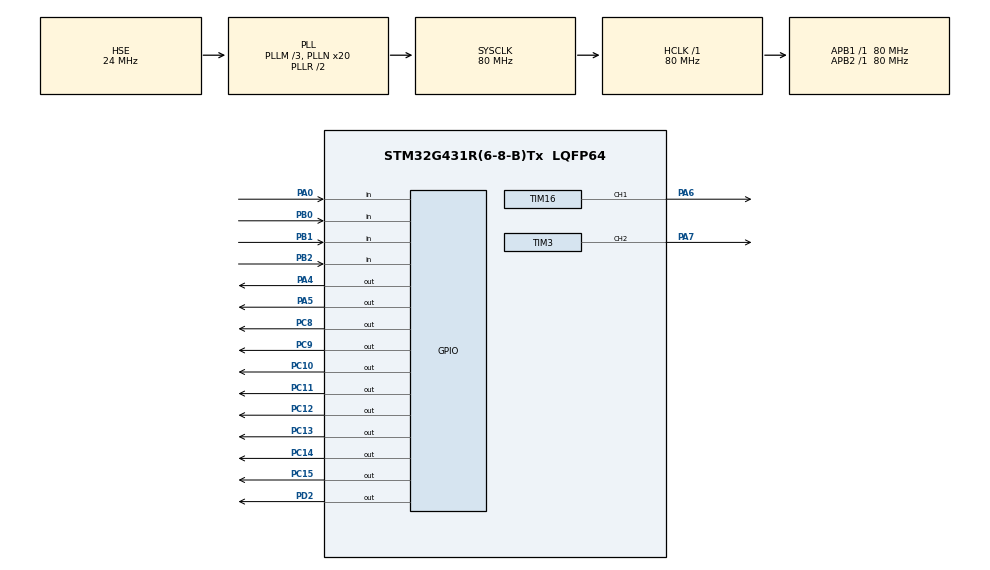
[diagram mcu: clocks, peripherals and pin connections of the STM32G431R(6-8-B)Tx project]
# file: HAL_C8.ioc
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Mcu.Family=STM32G4
Mcu.Name=STM32G431R(6-8-B)Tx
Mcu.Package=LQFP64
NVIC.PriorityGroup=NVIC_PRIORITYGROUP_4
NVIC.TIM6_DAC_IRQn=true\:0\:0\:false\:false\:true\:true\:true
PA0.Signal=GPIO_Input
PA4.Signal=GPIO_Output
PA5.Signal=GPIO_Output
PA6.Signal=S_TIM16_CH1
PA7.Signal=S_TIM3_CH2
PB0.Signal=GPIO_Input
PB1.Signal=GPIO_Input
PB2.Signal=GPIO_Input
PC10.PinState=GPIO_PIN_SET
PC10.Signal=GPIO_Output
PC11.PinState=GPIO_PIN_SET
PC11.Signal=GPIO_Output
PC12.PinState=GPIO_PIN_SET
PC12.Signal=GPIO_Output
PC13.PinState=GPIO_PIN_SET
PC13.Signal=GPIO_Output
PC14-OSC32_IN.PinState=GPIO_PIN_SET
PC14-OSC32_IN.Signal=GPIO_Output
PC15-OSC32_OUT.PinState=GPIO_PIN_SET
PC15-OSC32_OUT.Signal=GPIO_Output
PC8.PinState=GPIO_PIN_SET
PC8.Signal=GPIO_Output
PC9.PinState=GPIO_PIN_SET
PC9.Signal=GPIO_Output
PD2.PinState=GPIO_PIN_RESET
PD2.Signal=GPIO_Output
PF0-OSC_IN.Mode=HSE-External-Oscillator
PF0-OSC_IN.Signal=RCC_OSC_IN
PF1-OSC_OUT.Mode=HSE-External-Oscillator
PF1-OSC_OUT.Signal=RCC_OSC_OUT
ProjectManager.HeapSize=0x200
ProjectManager.StackSize=0x400
ProjectManager.TargetToolchain=MDK-ARM V5.27
RCC.ADC12Freq_Value=80000000
RCC.AHBFreq_Value=80000000
RCC.APB1Freq_Value=80000000
RCC.APB1TimFreq_Value=80000000
RCC.APB2Freq_Value=80000000
RCC.APB2TimFreq_Value=80000000
RCC.CortexFreq_Value=80000000
RCC.EXTERNAL_CLOCK_VALUE=12288000
RCC.HCLKFreq_Value=80000000
RCC.HSE_VALUE=24000000
RCC.HSI48_VALUE=48000000
RCC.HSI_VALUE=16000000
RCC.LSE_VALUE=32768
RCC.PLLM=RCC_PLLM_DIV3
RCC.PLLN=20
RCC.PLLSourceVirtual=RCC_PLLSOURCE_HSE
RCC.SYSCLKFreq_VALUE=80000000
RCC.SYSCLKSource=RCC_SYSCLKSOURCE_PLLCLK
RCC.USBFreq_Value=80000000
RCC.VCOOutputFreq_Value=160000000
RTC.Hours=23
RTC.Minutes=59
RTC.Seconds=30
RTC.Year=22
SH.S_TIM16_CH1.0=TIM16_CH1,Output Compare1 CH1
SH.S_TIM3_CH2.0=TIM3_CH2,Output Compare2 CH2
TIM16.AutoReloadPreload=TIM_AUTORELOAD_PRELOAD_ENABLE
TIM16.Channel=TIM_CHANNEL_1
TIM16.PeriodNoDither=999
TIM16.Prescaler=39
TIM16.PulseNoDither_1=500
TIM3.AutoReloadPreload=TIM_AUTORELOAD_PRELOAD_ENABLE
TIM3.Channel-Output\ Compare2\ CH2=TIM_CHANNEL_2
TIM3.PeriodNoDither=999
TIM3.Prescaler=79
TIM3.PulseNoDither_2=500
TIM6.AutoReloadPreload=TIM_AUTORELOAD_PRELOAD_ENABLE
TIM6.PeriodNoDither=999
TIM6.Prescaler=79
VP_RTC_VS_RTC_Activate.Mode=RTC_Enabled
VP_RTC_VS_RTC_Calendar.Mode=RTC_Calendar
VP_SYS_VS_DBSignals.Mode=DisableDeadBatterySignals
VP_TIM16_VS_ClockSourceINT.Mode=Enable_Timer
VP_TIM3_VS_ClockSourceINT.Mode=Internal
VP_TIM6_VS_ClockSourceINT.Mode=Enable_Timer
board=custom

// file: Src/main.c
/* USER CODE BEGIN Header */
/**
  ******************************************************************************
  * @file           : main.c
  * @brief          : Main program body
  ******************************************************************************
  * @attention
  *
  * <h2><center>&copy; Copyright (c) 2024 STMicroelectronics.
  * All rights reserved.</center></h2>
  *
  * This software component is licensed by ST under BSD 3-Clause license,
  * the "License"; You may not use this file except in compliance with the
  * License. You may obtain a copy of the License at:
  *                        opensource.org/licenses/BSD-3-Clause
  *
  ******************************************************************************
  */
/* USER CODE END Header */

#include "main.h"
#include "rtc.h"
#include "tim.h"
#include "gpio.h"

/* USER CODE BEGIN Includes */
#include "lcd_hal.h"
#include <stdio.h>
#include <string.h>
#include "LED.h"
/* USER CODE END Includes */

/* USER CODE BEGIN PTD */
typedef enum
{
	Key_Check,
	Key_Press,
	Key_Release,
	Key_Over
}Key_State;
typedef enum
{
	DU_NotClear,
	close,
	open
}State_f;
typedef enum
{
	up,
	down,
}DownAndUp;
/* USER CODE END PTD */

/* USER CODE BEGIN PD */
#define B1 HAL_GPIO_ReadPin(GPIOB, GPIO_PIN_0)
#define B2 HAL_GPIO_ReadPin(GPIOB, GPIO_PIN_1)
#define B3 HAL_GPIO_ReadPin(GPIOB, GPIO_PIN_2)
#define B4 HAL_GPIO_ReadPin(GPIOA, GPIO_PIN_0)

#define Press   GPIO_PIN_RESET
#define Release GPIO_PIN_SET

#define UP_PA4    HAL_GPIO_WritePin(GPIOA, GPIO_PIN_4, GPIO_PIN_SET)
#define DOWN_PA4  HAL_GPIO_WritePin(GPIOA, GPIO_PIN_4, GPIO_PIN_RESET)
#define OPEN_PA5  HAL_GPIO_WritePin(GPIOA, GPIO_PIN_5, GPIO_PIN_SET)
#define CLOSE_PA5 HAL_GPIO_WritePin(GPIOA, GPIO_PIN_5, GPIO_PIN_RESET)
#define UP_PWM    __HAL_TIM_SET_COMPARE(&htim3, TIM_CHANNEL_2, 800)
#define	DOWN_PWM  __HAL_TIM_SET_COMPARE(&htim3, TIM_CHANNEL_2, 600);
#define OPEN_PWM  __HAL_TIM_SET_COMPARE(&htim16, TIM_CHANNEL_1, 600);
#define	CLOSE_PWM __HAL_TIM_SET_COMPARE(&htim16, TIM_CHANNEL_1, 500);
/* USER CODE END PD */

/* USER CODE BEGIN PV */
uint8_t ShowTime[10] = "HH:MM:SS";
uint8_t ShowDate[10] = "YYYY:MM:DD";
uint8_t Str[30];
Key_State KeyState = Key_Check;
uint16_t Key_Press_Time;
uint8_t KeyNum;

uint8_t Plot_Now = 1;
uint8_t Plot_Aim[5] = {0};

extern uint8_t LCD_Show_Flag;

uint8_t Flag_Key_Not, Flag_Work;
uint32_t Key_Not_Time;

State_f State = close;
DownAndUp DAU = up;

extern uint8_t LED_Num;
uint8_t LED_Flag;
/* USER CODE END PV */

void SystemClock_Config(void);
/* USER CODE BEGIN PFP */
void Key_Scan(void);
void Plot_AIM_Show(void);
void Close_Door(void);
void Open_Door(void);
void Down(void);
void Up(void);
void LED_Show(void);

/* USER CODE END PFP */

/* USER CODE BEGIN 0 */
void RTC_Show(uint8_t *ShowTime, uint8_t *ShowDate)
{
	RTC_TimeTypeDef sTime;
	RTC_DateTypeDef sDate;

	HAL_RTC_GetTime(&hrtc, &sTime, RTC_FORMAT_BIN);
	HAL_RTC_GetDate(&hrtc, &sDate, RTC_FORMAT_BIN);

	sprintf((char *)ShowTime, "      %2d:%2d:%2d", sTime.Hours, sTime.Minutes, sTime.Seconds);
//	sprintf((char *)ShowDate, "%2d-%2d-%2d", 2000 + sDate.Year, sDate.Month, sDate.Date);
	LCD_DisplayStringLine(Line8, ShowTime);
}

void RTC_SetTime(uint8_t HH, uint8_t MM, uint8_t SS)
{
	RTC_TimeTypeDef sTime = {0};

	sTime.Hours = HH;
	sTime.Minutes = MM;
	sTime.Seconds = SS;

	HAL_RTC_SetTime(&hrtc, &sTime, RTC_FORMAT_BIN);
}

/* USER CODE END 0 */

int main(void)
{

  /* MCU Configuration--------------------------------------------------------*/

  /* Reset of all peripherals, Initializes the Flash interface and the Systick. */
  HAL_Init();

  /* Configure the system clock */
  SystemClock_Config();

  /* Initialize all configured peripherals */
  MX_GPIO_Init();
  MX_RTC_Init();
  MX_TIM3_Init();
  MX_TIM16_Init();
  MX_TIM6_Init();
  /* USER CODE BEGIN 2 */
  LED_Init();//灯初始化

  LCD_Init();//LCD初始�?
  LCD_Clear(Black);
  LCD_SetBackColor(Black);
  LCD_SetTextColor(White);
  LCD_DisplayStringLine(Line2, (uint8_t *)"    Now - Platfom");

  RTC_SetTime(13, 0, 0);//RTC初始�?

  HAL_TIM_Base_Start_IT(&htim6);//TIM6_Base
  __HAL_TIM_CLEAR_IT(&htim6, TIM_FLAG_UPDATE);

  HAL_TIM_PWM_Start_IT(&htim3, TIM_CHANNEL_2);//PWM初始�?
  __HAL_TIM_CLEAR_IT(&htim3, TIM_CHANNEL_2);
  HAL_TIM_PWM_Start_IT(&htim16, TIM_CHANNEL_1);
  __HAL_TIM_CLEAR_IT(&htim16, TIM_CHANNEL_1);

  /* USER CODE END 2 */

  /* Infinite loop */
  /* USER CODE BEGIN WHILE */
  while (1)
  {
	  RTC_Show(ShowTime, ShowDate);

	  if(KeyState == Key_Over)//按键判断
	  {
		  KeyState = Key_Check;
		  if(State != DU_NotClear)//上下行时，按键无�?
		  {
			  if(KeyNum == 1)
			  {
				  Plot_Aim[1] = 1;
			  }
			  else if(KeyNum == 2)
			  {
				  Plot_Aim[2] = 1;
			  }
			  else if(KeyNum == 3)
			  {
				  Plot_Aim[3] = 1;
			  }
			  else if(KeyNum == 4)
			  {
				  Plot_Aim[4] = 1;
			  }
		  }

		  Key_Press_Time = 20;
	  }

	  Plot_AIM_Show();//LED_Aim
	  LED_Show();//Up Down流水�?

	  if(Plot_Aim[Plot_Now] == 1)//LCD闪烁
	  {
		  if(LCD_Show_Flag == 1)
		  {
			  sprintf((char *) Str, "          %d", Plot_Now);//实时刷新当前�?在平�?
			  LCD_DisplayStringLine(Line4, (uint8_t *)Str);
		  }
		  else {LCD_DisplayStringLine(Line4, (uint8_t *)"               ");}
	  }
	  else
	  {
		  sprintf((char *) Str, "          %d", Plot_Now);
		  LCD_DisplayStringLine(Line4, (uint8_t *)Str);
	  }

    /* USER CODE END WHILE */

  }
}

void SystemClock_Config(void)
{
  RCC_OscInitTypeDef RCC_OscInitStruct = {0};
  RCC_ClkInitTypeDef RCC_ClkInitStruct = {0};
  RCC_PeriphCLKInitTypeDef PeriphClkInit = {0};

  /** Configure the main internal regulator output voltage
  */
  HAL_PWREx_ControlVoltageScaling(PWR_REGULATOR_VOLTAGE_SCALE1);
  /** Initializes the CPU, AHB and APB busses clocks
  */
  RCC_OscInitStruct.OscillatorType = RCC_OSCILLATORTYPE_LSI|RCC_OSCILLATORTYPE_HSE;
  RCC_OscInitStruct.HSEState = RCC_HSE_ON;
  RCC_OscInitStruct.LSIState = RCC_LSI_ON;
  RCC_OscInitStruct.PLL.PLLState = RCC_PLL_ON;
  RCC_OscInitStruct.PLL.PLLSource = RCC_PLLSOURCE_HSE;
  RCC_OscInitStruct.PLL.PLLM = RCC_PLLM_DIV3;
  RCC_OscInitStruct.PLL.PLLN = 20;
  RCC_OscInitStruct.PLL.PLLP = RCC_PLLP_DIV2;
  RCC_OscInitStruct.PLL.PLLQ = RCC_PLLQ_DIV2;
  RCC_OscInitStruct.PLL.PLLR = RCC_PLLR_DIV2;
  if (HAL_RCC_OscConfig(&RCC_OscInitStruct) != HAL_OK)
  {
    Error_Handler();
  }
  /** Initializes the CPU, AHB and APB busses clocks
  */
  RCC_ClkInitStruct.ClockType = RCC_CLOCKTYPE_HCLK|RCC_CLOCKTYPE_SYSCLK
                              |RCC_CLOCKTYPE_PCLK1|RCC_CLOCKTYPE_PCLK2;
  RCC_ClkInitStruct.SYSCLKSource = RCC_SYSCLKSOURCE_PLLCLK;
  RCC_ClkInitStruct.AHBCLKDivider = RCC_SYSCLK_DIV1;
  RCC_ClkInitStruct.APB1CLKDivider = RCC_HCLK_DIV1;
  RCC_ClkInitStruct.APB2CLKDivider = RCC_HCLK_DIV1;

  if (HAL_RCC_ClockConfig(&RCC_ClkInitStruct, FLASH_LATENCY_3) != HAL_OK)
  {
    Error_Handler();
  }
  /** Initializes the peripherals clocks
  */
  PeriphClkInit.PeriphClockSelection = RCC_PERIPHCLK_RTC;
  PeriphClkInit.RTCClockSelection = RCC_RTCCLKSOURCE_LSI;

  if (HAL_RCCEx_PeriphCLKConfig(&PeriphClkInit) != HAL_OK)
  {
    Error_Handler();
  }
}

/* USER CODE BEGIN 4 */

void HAL_TIM_PeriodElapsedCallback(TIM_HandleTypeDef * htim)
{
	static uint16_t Tcount1 = 0, Tcount2 = 0;

	if(Flag_Key_Not == 1)Key_Not_Time ++;
	if(Key_Not_Time >= 1000)Flag_Work = 1;//松手�?秒后�?始运�?

	if(Flag_Work == 1)//Run�?始运�?
	{
		if(State == close)//关门状�??
		{
			if(++Tcount1 <= 4000)//4s
			{
				Close_Door();
			}
			else
			{
				Tcount1 = 0;
				State = DU_NotClear;
			}
		}

		else if(State == DU_NotClear)//上下�?
		{
			if(DAU == up)//上行
			{
				if(Plot_Now < 4)
				{
					if(++Tcount1 <= 6000)//6s
					{
						Up();
					}
					else
					{
						Tcount1 = 0;
						Plot_Now ++;//当前平台+1
						if(Plot_Aim[Plot_Now] == 1)State = open;
					}
				}
				else
				{
					DAU = down;//已到�?高层，开始下�?
				}
			}
			else if(DAU == down)//下行
			{
				if(Plot_Now > 1)
				{
					if(++Tcount1 <= 6000)//4
					{
						Down();
					}
					else
					{
						Tcount1 = 0;
						Plot_Now --;
						if(Plot_Aim[Plot_Now] == 1)State = open;
					}
				}
				else
				{
					DAU = up;//已到�?低层，开始上�?
				}
			}
		}
		else if(State == open)//�?�?,即为目标平台
		{
			if(++Tcount1 <= 4000)//4
			{
				Open_Door();
			}
			else
			{
				if( ++Tcount2 == 2000)//停留两秒
				{
					Tcount2 = 0;
					Tcount1 = 0;
					Plot_Aim[Plot_Now] = 0;//目标平台失效
					State = close;//关门
				}
			}
		}
	 }
}
void LED_Show(void)//流水�?
{
	if(DAU == up)//上行
	{
		if(LED_Flag == 0)
		{
			LED_Num = 5;//保证从最右开始流�?
			LED_Flag = 1;
		}
		LED_ON(LED_Num);
		if(LED_Num > 5)LED_OFF(LED_Num - 1);
		if(HAL_GPIO_ReadPin(GPIOC, GPIO_PIN_12) == RESET)LED_OFF(8);//前面的灯�?
	}
	if(DAU == down)//下行
	{
		if(LED_Flag == 1)
		{
			LED_Num = 5;//保证从最左开始流�?
			LED_Flag = 0;
		}
		LED_ON(13 - LED_Num);
		if(LED_Num > 5)LED_OFF((13 - LED_Num) + 1);
		if(HAL_GPIO_ReadPin(GPIOC, GPIO_PIN_15) == RESET)LED_OFF(5);//前面的灯�?
	}
}

void Plot_AIM_Show(void)//目标平台显示�?
{
	  if(Plot_Aim[1] == 1)//目标=1
	  {
		  if(Plot_Now != 1)//目标不等于Now,则正常亮�?
		  {
			 LED_ON(1);
		  }
		  else {LED_OFF(1);}
	  }
	  if(Plot_Aim[2] == 1)
	  {
		  if(Plot_Now != 2)
		  {
			 LED_ON(2);
		  }
		  else {LED_OFF(2);}
	  }
	  if(Plot_Aim[3] == 1)
	  {
		  if(Plot_Now != 3)
		  {
			 LED_ON(3);
		  }
		  else {LED_OFF(3);}
	  }
	  if(Plot_Aim[4] == 1)
	  {
		  if(Plot_Now != 4)
		  {
			 LED_ON(4);
		  }
		  else{LED_OFF(4);}
	  }
}

void Close_Door(void)
{
	CLOSE_PWM;//关门
	CLOSE_PA5;
}
void Open_Door(void)
{
	OPEN_PWM;//�?�?
	OPEN_PA5;
}
void Down(void)
{
	DOWN_PWM;//下行
	DOWN_PA4;
}
void Up(void)
{
	UP_PWM;//上行
	UP_PA4;
}

void Key_Scan(void)
{
	switch(KeyState)
	{
		case Key_Check:
		{
			if(B1 == Press || B2 == Press || B3 == Press || B4 == Press)
			{
				KeyState = Key_Press;
				Flag_Key_Not = 0;
			}
		}
		break;
		case Key_Press:
		{
			if(B1 == Press)KeyNum = 1;
			else if(B2 == Press)KeyNum = 2;
			else if(B3 == Press)KeyNum = 3;
			else if(B4 == Press)KeyNum = 4;
			KeyState = Key_Release;
		}
		break;
		case Key_Release:
		{
			if(B1 == Press || B2 == Press || B3 == Press || B4 == Press)
			{
				Key_Press_Time += 10;
			}
			else
			{
				KeyState = Key_Over;
				Flag_Key_Not = 1;
				Key_Not_Time = 0;
			}
		}
		break;
		default:break;
	}
}
/* USER CODE END 4 */

void Error_Handler(void)
{
}

/************************ (C) COPYRIGHT STMicroelectronics *****END OF FILE****/
